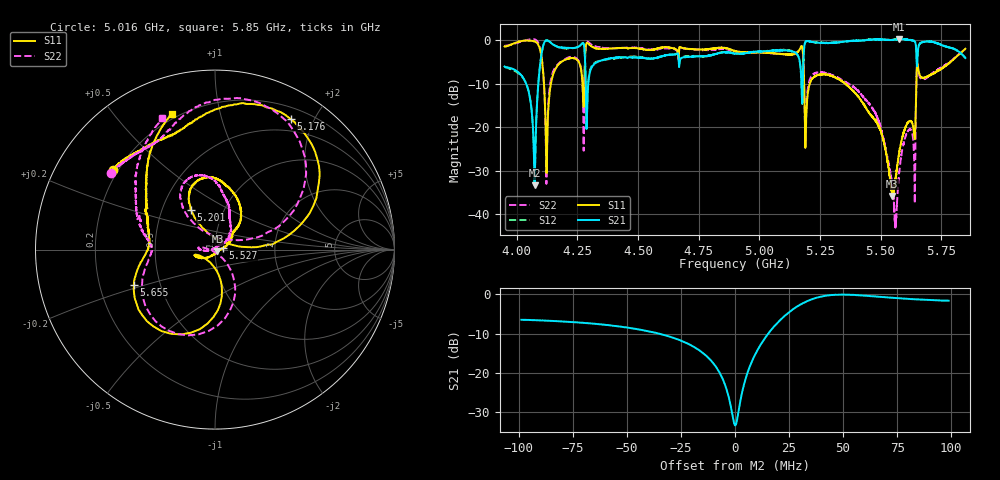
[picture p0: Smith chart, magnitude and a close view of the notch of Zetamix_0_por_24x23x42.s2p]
# GHZ S RI R 50.000000000000
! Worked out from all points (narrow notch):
!   4501 points, 3.95 GHz to 5.85 GHz, reference 50 ohm
!   highest |S21| = 0.23 dB at 5.578 GHz (marker M1); lowest = -33.4 dB at 4.074 GHz (marker M2)
!   notch at M2: 30.8 dB deep, 16.5 MHz wide at half that depth
!   lowest |S11| = -35.8 dB at 5.548 GHz (marker M3), VSWR 1.03, Z = 51.3 - j0.936 ohm
!   |S11| at or under -10 dB: 4.112 GHz to 4.141 GHz (28.73 MHz wide, 0.696 % of centre); 5.185055 GHz to 5.208193 GHz (23.14 MHz wide, 0.445 % of centre); 5.354 GHz to 5.648 GHz (293.3 MHz wide, 5.33 % of centre)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
!   |S22| runs from -43.1 to 0.2 dB; largest |S21 - S12| = 0.057
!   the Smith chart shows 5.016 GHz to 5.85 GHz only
!   S11 on the Smith chart (normalised r, x): 5.016 GHz: 0.18, +0.33; 5.176 GHz: 0.34, +1.68; 5.201 GHz: 0.70, +0.33; 5.527 GHz: 1.09, +0.02; 5.655 GHz: 0.35, -0.18; 5.85 GHz: 0.17, +0.72
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3.95  0.7067 -0.4646  -0.2699 -0.4173  -0.2849 -0.4054  0.7144 -0.4792
4.039511  0.3735 -0.9147  -0.2803 -0.1351  -0.2801 -0.1442  0.498 -0.8631
4.073711  -0.0501 -0.9642  -0.00308 -0.0212  -0.00164 -0.0209  0.0831 -1.016
4.100311  -0.4917 -0.4766  0.4192 -0.4833  0.4077 -0.4944  -0.4613 -0.5341
4.122689  -0.00761 -0.0288  -0.1478 -0.9806  -0.1564 -0.9813  0.0113 -0.0228
4.164489  0.3177 -0.3766  -0.6272 -0.5692  -0.6385 -0.554  0.336 -0.3837
4.267089  -0.0219 -0.4254  -0.8869 0.1311  -0.8915 0.1427  -0.0512 -0.4265
4.290311  0.5186 -0.7748  -0.1643 -0.0537  -0.1696 -0.0574  0.7089 -0.6523
4.583756  -0.5918 -0.5443  -0.4558 0.4406  -0.4394 0.4481  -0.5314 -0.583
4.9  -0.716 0.2276  0.2007 0.6709  0.2205 0.6729  -0.7151 0.1972
5.016111  -0.5705 0.4418  0.452 0.5898  0.4598 0.5797  -0.577 0.4294
5.176133  0.4216 0.7271  0.1898 0.0871  0.1895 0.0809  0.2808 0.7993
5.201467  -0.1353 0.222  0.7986 0.5629  0.8094 0.5369  -0.1773 0.2312
5.217089  -0.1388 0.3267  0.8655 0.3968  0.8778 0.371  -0.1846 0.3455
5.408356  0.1447 0.1723  0.8734 -0.4525  0.8608 -0.4796  0.0774 0.249
5.526578  0.0439 0.00867  0.5382 -0.8471  0.5014 -0.8799  0.0364 0.0294
5.533756  0.034 0.00217  0.5122 -0.861  0.4736 -0.894  0.0286 0.0253
5.547689  0.0134 -0.00912  0.466 -0.8924  0.4171 -0.9166  0.0129 0.0186
5.577667  -0.0328 -0.042  0.3366 -0.97  0.2886 -0.9759  -0.0306 -0.00409
5.636356  -0.087 -0.0335  -0.0541 -0.9793  -0.0942 -0.9869  -0.0604 0.00953
5.654511  -0.4518 -0.1982  0.1804 -0.7478  0.1454 -0.7568  -0.4064 -0.232
5.85  -0.2398 0.7574  -0.5751 -0.2421  -0.5813 -0.219  -0.294 0.733
